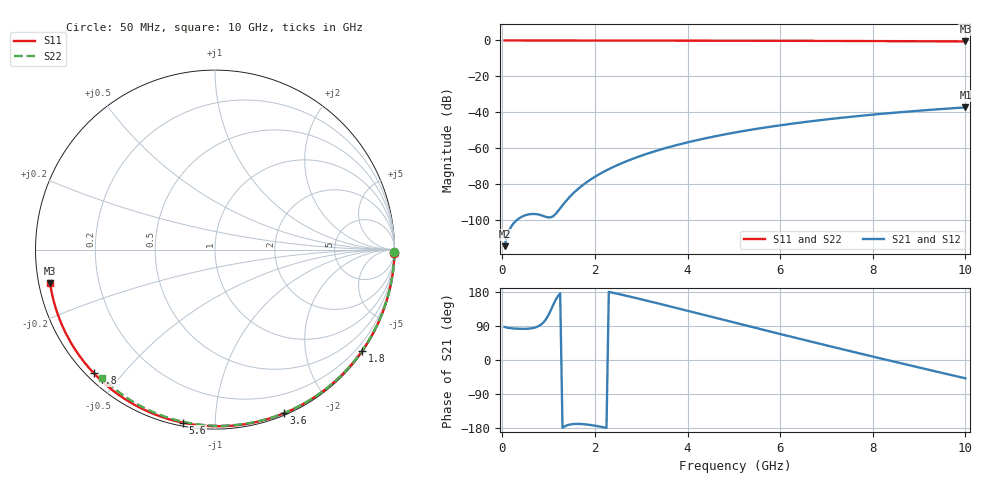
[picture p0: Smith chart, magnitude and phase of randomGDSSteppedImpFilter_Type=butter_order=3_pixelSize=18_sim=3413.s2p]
! freq	dB(S11)	phase(S11)	dB(S12)	phase(S12)
!  dB(S21)	phase(S21)	dB(S22)	phase(S22)
!S-par simulation data
#  GHz  S  DB  R 50
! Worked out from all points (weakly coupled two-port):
!   200 points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, 50 MHz to 10 GHz, reference 50 ohm
!   highest |S21| = -37.28 dB at 10 GHz (marker M1); lowest = -114.5 dB at 50 MHz (marker M2)
!   lowest |S11| = -0.6 dB at 10 GHz (marker M3), VSWR 31.14, Z = 1.62 - j5.02 ohm
!   |S11| at or under -10 dB: nowhere
!   |S22| runs from -0.4 to 0.0 dB; largest |S21 - S12| = 0
!   S11 on the Smith chart (normalised r, x): 50 MHz: open; 1.8 GHz: 0.03, -3.21; 3.6 GHz: 0.02, -1.51; 5.6 GHz: 0.02, -0.83; 7.8 GHz: 0.02, -0.42; 10 GHz: 0.03, -0.10
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0.05  -0.00 -1.0  -114.53 87.3  -114.53 87.3  -0.00 -0.8
0.45  -0.01 -8.8  -97.79 82.2  -97.79 82.2  -0.01 -6.8
0.85  -0.02 -16.5  -97.41 94.7  -97.41 94.7  -0.02 -12.8
1.3  -0.03 -25.1  -91.78 -178.7  -91.78 -178.7  -0.02 -19.5
1.75  -0.04 -33.6  -80.29 -169.3  -80.29 -169.3  -0.03 -26.2
1.8  -0.04 -34.6  -79.33 -169.9  -79.33 -169.9  -0.03 -26.9
2.1  -0.05 -40.1  -74.39 -175.4  -74.39 -175.4  -0.04 -31.3
2.3  -0.06 -43.8  -71.65 179.7  -71.65 179.7  -0.04 -34.2
2.5  -0.06 -47.5  -69.23 174.5  -69.23 174.5  -0.05 -37.1
2.9  -0.07 -54.8  -65.09 163.1  -65.09 163.1  -0.06 -42.8
3.4  -0.08 -63.6  -60.87 148.2  -60.87 148.2  -0.07 -49.9
3.6  -0.09 -67.1  -59.39 142.1  -59.39 142.1  -0.07 -52.7
4.3  -0.11 -79.1  -54.96 120.7  -54.96 120.7  -0.09 -62.2
5.05  -0.14 -91.6  -51.13 97.6  -51.13 97.6  -0.11 -72.2
5.6  -0.17 -100.4  -48.77 80.8  -48.77 80.8  -0.13 -79.3
6.15  -0.20 -109.1  -46.70 64.1  -46.70 64.1  -0.15 -86.2
6.7  -0.23 -117.7  -44.88 47.5  -44.88 47.5  -0.18 -93.0
7.25  -0.27 -126.1  -43.25 31.1  -43.25 31.1  -0.21 -99.7
7.8  -0.31 -134.5  -41.79 14.9  -41.79 14.9  -0.25 -106.2
8.35  -0.37 -142.9  -40.48 -1.1  -40.48 -1.1  -0.29 -112.6
9.2  -0.46 -155.9  -38.71 -25.6  -38.71 -25.6  -0.36 -122.4
10  -0.56 -168.5  -37.28 -48.4  -37.28 -48.4  -0.44 -131.4
